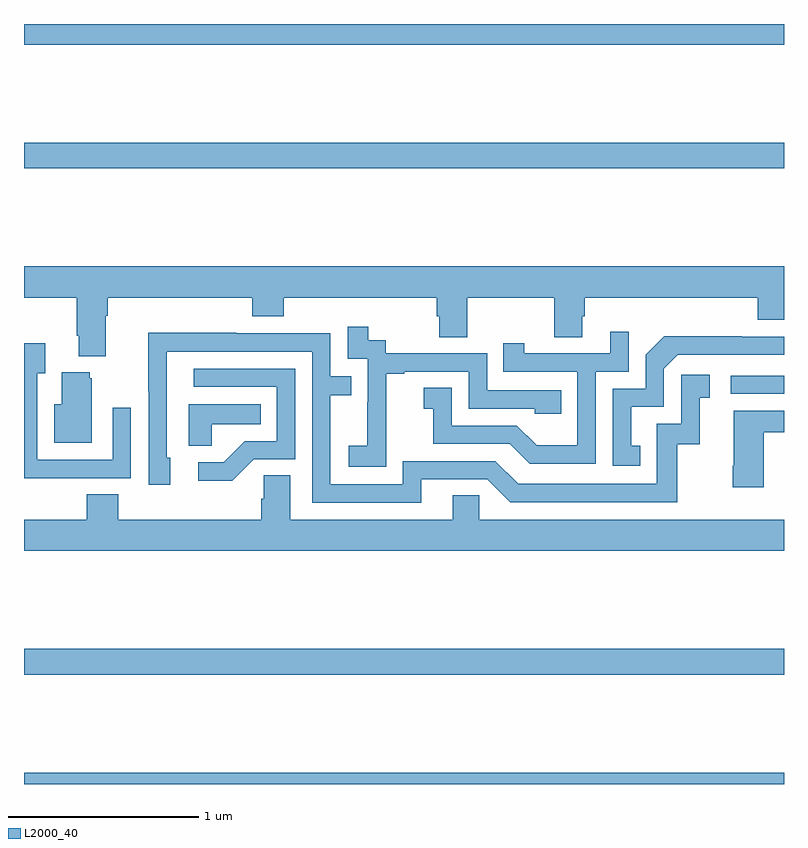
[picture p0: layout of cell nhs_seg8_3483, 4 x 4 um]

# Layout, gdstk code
import gdstk
lib = gdstk.Library(unit=1e-6, precision=1e-09)
def R(c, l, rs):  # rectangles x0, y0, x1, y1
    for r in rs: c.add(gdstk.rectangle(r[:2], r[2:], *l))
def P(c, l, *ps):  # polygons
    for p in ps: c.add(gdstk.Polygon(p, *l))
L2000_40 = (2000, 40)

nhs_seg8_3483 = lib.new_cell('nhs_seg8_3483')
R(nhs_seg8_3483, L2000_40, [(325,1153.9,329,1153.96), (325,1154.476,329,1154.612), (328.719,1155.954,329,1156.05), (325,1157.14,329,1157.276), (325,1157.792,329,1157.9)])
P(nhs_seg8_3483, L2000_40, [(325.429,1156.364),(325.442,1156.364),(325.442,1156.46),(326.201,1156.46),(326.201,1156.361),(326.366,1156.361),(326.366,1156.46),(327.173,1156.46),(327.173,1156.362),(327.185,1156.362),(327.185,1156.252),(327.333,1156.252),(327.333,1156.46),(327.79,1156.46),(327.79,1156.252),(327.937,1156.252),(327.937,1156.362),(327.95,1156.362),(327.95,1156.46),(328.862,1156.46),(328.862,1156.343),(329,1156.343),(329,1156.624),(325,1156.624),(325,1156.46),(325.277,1156.46),(325.277,1156.258),(325.289,1156.258),(325.289,1156.151),(325.429,1156.151)],
  [(326.907,1155.775),(326.906,1155.775),(326.906,1156.059),(327.001,1156.059),(327.001,1156.071),(327.342,1156.071),(327.342,1155.876),(327.687,1155.876),(327.687,1155.849),(327.827,1155.849),(327.827,1155.972),(327.438,1155.972),(327.438,1156.167),(326.904,1156.167),(326.904,1156.236),(326.812,1156.236),(326.812,1156.306),(326.703,1156.306),(326.703,1156.137),(326.808,1156.137),(326.808,1155.908),(326.807,1155.908),(326.807,1155.679),(326.709,1155.679),(326.709,1155.569),(326.907,1155.569)],
  [(328.008,1156.071),(328.182,1156.071),(328.182,1156.279),(328.085,1156.279),(328.085,1156.167),(327.634,1156.167),(327.634,1156.219),(327.523,1156.219),(327.523,1156.071),(327.912,1156.071),(327.912,1155.682),(327.698,1155.682),(327.594,1155.786),(327.252,1155.786),(327.252,1155.985),(327.105,1155.985),(327.105,1155.875),(327.154,1155.875),(327.154,1155.69),(327.557,1155.69),(327.662,1155.585),(328.008,1155.585)],
  [(327.091,1155.504),(327.438,1155.504),(327.558,1155.384),(328.438,1155.384),(328.438,1155.687),(328.556,1155.687),(328.556,1155.933),(328.609,1155.933),(328.609,1156.054),(328.458,1156.054),(328.458,1155.795),(328.329,1155.795),(328.329,1155.48),(327.6,1155.48),(327.48,1155.6),(326.994,1155.6),(326.994,1155.477),(326.613,1155.477),(326.613,1155.946),(326.723,1155.946),(326.723,1156.047),(326.613,1156.047),(326.613,1156.272),(326.117,1156.272),(326.117,1156.274),(325.654,1156.274),(325.654,1155.967),(325.656,1155.967),(325.656,1155.474),(325.771,1155.474),(325.771,1155.618),(325.752,1155.618),(325.752,1156.176),(326.517,1156.176),(326.517,1155.381),(327.091,1155.381)],
  [(328.244,1155.681),(328.195,1155.681),(328.195,1155.885),(328.368,1155.885),(328.368,1156.086),(328.44,1156.158),(329,1156.158),(329,1156.254),(328.778,1156.254),(328.778,1156.256),(328.37,1156.256),(328.272,1156.158),(328.272,1155.981),(328.098,1155.981),(328.098,1155.576),(328.244,1155.576)],
  [(325.247,1155.51),(325.563,1155.51),(325.563,1155.88),(325.467,1155.88),(325.467,1155.606),(325.071,1155.606),(325.071,1156.063),(325.111,1156.063),(325.111,1156.219),(325,1156.219),(325,1155.509),(325.247,1155.509)],
  [(326.208,1155.609),(326.427,1155.609),(326.427,1156.086),(325.893,1156.086),(325.893,1155.99),(326.331,1155.99),(326.331,1155.705),(326.162,1155.705),(326.051,1155.594),(325.917,1155.594),(325.917,1155.497),(326.095,1155.497)],
  [(325.357,1156.035),(325.346,1156.035),(325.346,1156.066),(325.199,1156.066),(325.199,1155.898),(325.16,1155.898),(325.16,1155.695),(325.357,1155.695)],
  [(325.989,1155.794),(326.246,1155.794),(326.246,1155.898),(325.868,1155.898),(325.868,1155.679),(325.989,1155.679)],
  [(328.894,1155.751),(329,1155.751),(329,1155.865),(328.736,1155.865),(328.736,1155.574),(328.729,1155.574),(328.729,1155.462),(328.894,1155.462)],
  [(329,1155.292),(327.396,1155.292),(327.396,1155.419),(327.257,1155.419),(327.257,1155.292),(326.401,1155.292),(326.401,1155.524),(326.262,1155.524),(326.262,1155.401),(326.249,1155.401),(326.249,1155.292),(325.496,1155.292),(325.496,1155.425),(325.331,1155.425),(325.331,1155.292),(325,1155.292),(325,1155.128),(329,1155.128)])

lib.write_gds('nhs_seg8_3483.gds')
